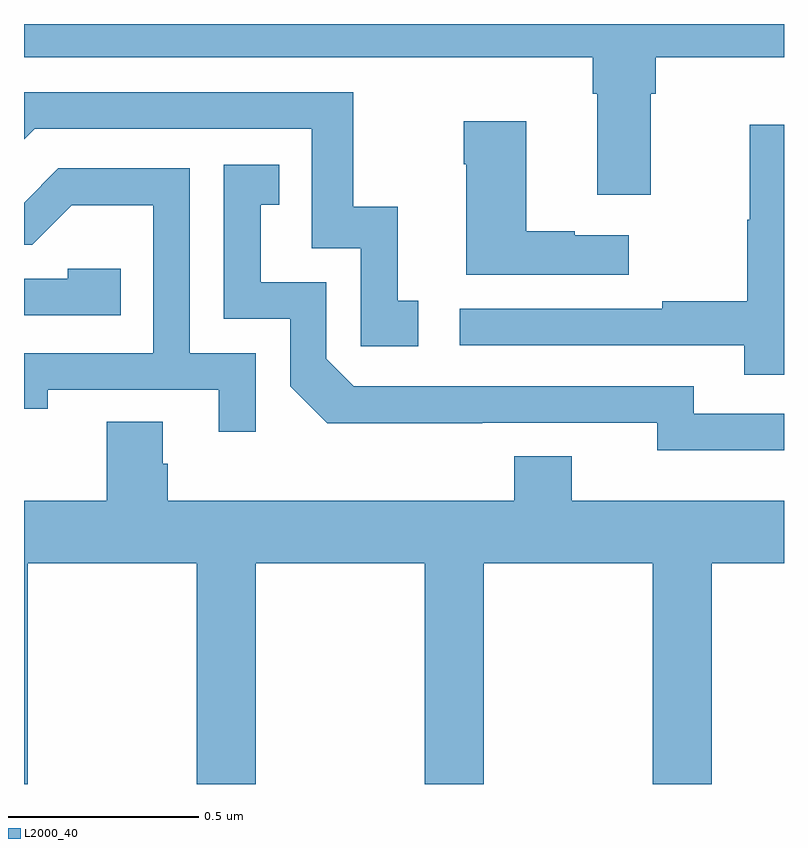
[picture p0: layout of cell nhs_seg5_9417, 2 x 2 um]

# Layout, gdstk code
import gdstk
lib = gdstk.Library(unit=1e-6, precision=1e-09)
def P(c, l, *ps):  # polygons
    for p in ps: c.add(gdstk.Polygon(p, *l))
L2000_40 = (2000, 40)

nhs_seg5_9417 = lib.new_cell('nhs_seg5_9417')
P(nhs_seg5_9417, L2000_40, [(234.649,904.616),(234.662,904.616),(234.662,904.712),(235,904.712),(235,904.799),(233,904.799),(233,904.712),(234.497,904.712),(234.497,904.616),(234.509,904.616),(234.509,904.35),(234.649,904.35)],
  [(234.037,904.071),(233.984,904.071),(233.984,904.318),(233.866,904.318),(233.866,904.62),(233,904.62),(233,904.496),(233.028,904.524),(233.757,904.524),(233.757,904.209),(233.886,904.209),(233.886,903.951),(234.037,903.951)],
  [(234.592,904.243),(234.449,904.243),(234.449,904.253),(234.322,904.253),(234.322,904.543),(234.157,904.543),(234.157,904.43),(234.164,904.43),(234.164,904.139),(234.592,904.139)],
  [(235,904.534),(234.91,904.534),(234.91,904.284),(234.903,904.284),(234.903,904.07),(234.679,904.07),(234.679,904.05),(234.147,904.05),(234.147,903.954),(234.895,903.954),(234.895,903.876),(235,903.876)],
  [(235,903.774),(234.762,903.774),(234.762,903.846),(233.868,903.846),(233.796,903.918),(233.796,904.119),(233.623,904.119),(233.623,904.323),(233.672,904.323),(233.672,904.429),(233.526,904.429),(233.526,904.023),(233.7,904.023),(233.7,903.846),(233.798,903.749),(234.206,903.749),(234.206,903.75),(234.666,903.75),(234.666,903.677),(235,903.677)],
  [(233.61,903.933),(233.436,903.933),(233.436,904.419),(233.09,904.419),(233,904.329),(233,904.218),(233.022,904.218),(233.126,904.322),(233.34,904.322),(233.34,903.933),(233,903.933),(233,903.786),(233.062,903.786),(233.062,903.837),(233.513,903.837),(233.513,903.726),(233.61,903.726)],
  [(233.255,904.155),(233.115,904.155),(233.115,904.128),(233,904.128),(233,904.032),(233.255,904.032)],
  [(233.378,903.642),(233.365,903.642),(233.365,903.752),(233.218,903.752),(233.218,903.544),(233,903.544),(233,902.799),(233.01,902.799),(233.01,903.38),(233.455,903.38),(233.455,902.799),(233.61,902.799),(233.61,903.38),(234.055,903.38),(234.055,902.799),(234.21,902.799),(234.21,903.38),(234.655,903.38),(234.655,902.799),(234.81,902.799),(234.81,903.38),(235,903.38),(235,903.544),(234.442,903.544),(234.442,903.661),(234.29,903.661),(234.29,903.544),(233.378,903.544)])

lib.write_gds('nhs_seg5_9417.gds')
